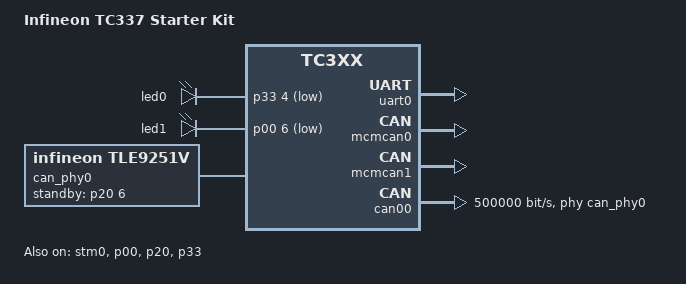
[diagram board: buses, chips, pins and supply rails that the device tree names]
/*
 * Copyright (c) 2024 Infineon Technologies AG
 *
 * SPDX-License-Identifier: Apache-2.0
 */

/dts-v1/;

#include <infineon/tc337lp.dtsi>

/ {
	model = "Infineon TC337 Starter Kit";
	compatible = "infineon,kit_a2g_tc337", "infineon,tc337lp",
						"infineon,tc3xx";

	chosen {
		zephyr,flash = &flash0;
		zephyr,sram = &dsram0;
		zephyr,itcm = &psram0;
		zephyr,console = &uart0;
		infineon,system-timer = &stm0;
	};

	leds {
		compatible = "gpio-leds";
		led0: led_0 {
			gpios = <&p33 4 GPIO_ACTIVE_LOW>;
		};
		led1: led_1 {
			gpios = <&p00 6 GPIO_ACTIVE_LOW>;
		};
	};

	aliases {
		led0 = &led0;
    };

	can_phy0: can-phy0 {
		compatible = "infineon,tle9251v", "can-transceiver-gpio";
		standby-gpios = <&p20 6 0>;
		max-bitrate = <5000000>;
		#phy-cells = <0>;
	};
};

&fosc {
	clock-frequency = <DT_FREQ_M(20)>;
	status = "okay";
};

&stm0 {
	status = "okay";
	freeze;
};

&p00 {
	status = "okay";
};

&p20 {
	status = "okay";
};

&p33 {
	status = "okay";
};

&uart0 {
	status = "okay";
	pinctrl-0 = <&asclin0_tx_p14_0>, <&asclin0_rx_p14_1>;
	pinctrl-names = "default";
};

&mcmcan0 {
	status = "okay";
};

&mcmcan1 {
	status = "okay";
};

&can00 {
	status = "okay";
	bus-speed = <500000>;
	bus-speed-data = <2000000>;
	pinctrl-0 = <&can00_tx_p20_8>, <&can00_rx_p20_7>;
	pinctrl-names = "default";
	phys = <&can_phy0>;
};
